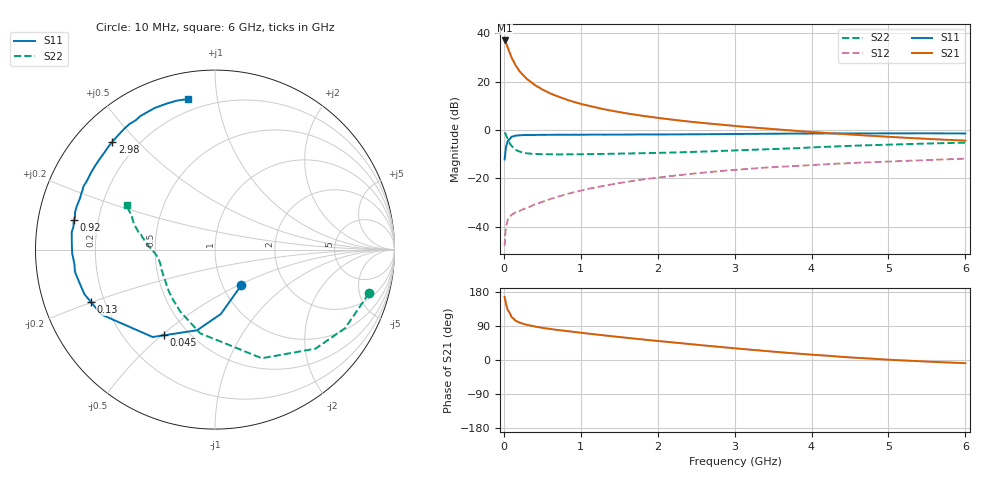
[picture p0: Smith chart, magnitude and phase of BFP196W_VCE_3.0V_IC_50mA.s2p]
! Infineon Technologies  Discrete & RF Semiconductors
! BFP196W
! VCE = 3.0 V,  IC =  50mA
! Common Emitter S-Parameters:  Jan 2016
# GHz  S  MA  R  50
!  f  S11  S21  S12  S22
! GHz  MAG  ANG  MAG  ANG  MAG  ANG  MAG  ANG
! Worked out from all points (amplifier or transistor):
!   210 points, 10 MHz to 6 GHz, reference 50 ohm
!   highest |S21| = 37.0 dB at 10 MHz (marker M1)
!   |S21| within 3 dB of that: start of sweep to 50.47 MHz
!   unconditionally stable (mu >= 1): 593.8 MHz to 3.344 GHz
!   at 185 MHz: K = 0.57, MSG = 29.5 dB, |S12| = -33.7 dB
!   at 1.52 GHz: K = 1.11, MAG = 12.5 dB, |S12| = -21.8 dB
!   at 6 GHz: K = 0.96, MSG = 3.7 dB, |S12| = -11.8 dB
!   S11 on the Smith chart (normalised r, x): 10 MHz: 1.22, -0.52; 45 MHz: 0.37, -0.51; 130 MHz: 0.15, -0.20; 920 MHz: 0.11, +0.10; 2.98 GHz: 0.11, +0.42; 6 GHz: 0.13, +0.83
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0.01  0.2468 -53.6  71.01 166.4  0.004 77.8  0.8913 -15.9
0.02  0.36 -84.8  68.04 156.4  0.0075 68.2  0.8468 -31.1
0.03  0.4603 -102.5  62.46 146.8  0.0103 62.6  0.7861 -44.6
0.045  0.5563 -120.9  53.1 136.2  0.013 52.9  0.6804 -60.5
0.05  0.5981 -125.5  50.47 131.9  0.014 50.5  0.659 -66.7
0.1  0.7286 -150.2  31.3 113.2  0.0177 39.5  0.4737 -100.0
0.13  0.7496 -156.9  25.63 108.4  0.019 38.8  0.4209 -110.7
0.15  0.769 -161.2  21.99 103.9  0.0198 38.4  0.3957 -119.3
0.2  0.7793 -167.1  16.75 98.9  0.0211 41.5  0.3609 -131.5
0.24  0.7881 -170.3  14.22 96.1  0.0228 42.8  0.3471 -137.8
0.3  0.7872 -174.0  11.31 92.7  0.0247 45.8  0.3304 -145.7
0.4  0.7961 -178.5  8.554 88.3  0.0289 50.1  0.3218 -153.3
0.6  0.8004 175.6  5.742 81.8  0.0374 56.1  0.316 -162.1
0.92  0.8028 168.3  3.78 73.8  0.0524 60.3  0.3167 -168.3
1.02  0.8022 166.5  3.412 71.5  0.0569 60.9  0.3176 -169.5
1.4  0.8041 159.5  2.513 62.8  0.0755 61.2  0.3239 -173.0
2.02  0.8127 148.8  1.77 49.9  0.1055 58.2  0.3385 -177.3
2.98  0.8298 133.6  1.222 31.3  0.1498 50.6  0.3791 175.3
3.1  0.8323 131.7  1.178 29.2  0.1548 49.4  0.3852 174.3
4.1  0.8527 118.0  0.893 12.8  0.1937 40.8  0.4456 165.9
5.1  0.8565 107.5  0.711 -0.2  0.2271 32.7  0.5046 157.7
6  0.8525 100.3  0.606 -8.4  0.2574 26.3  0.5497 152.9
